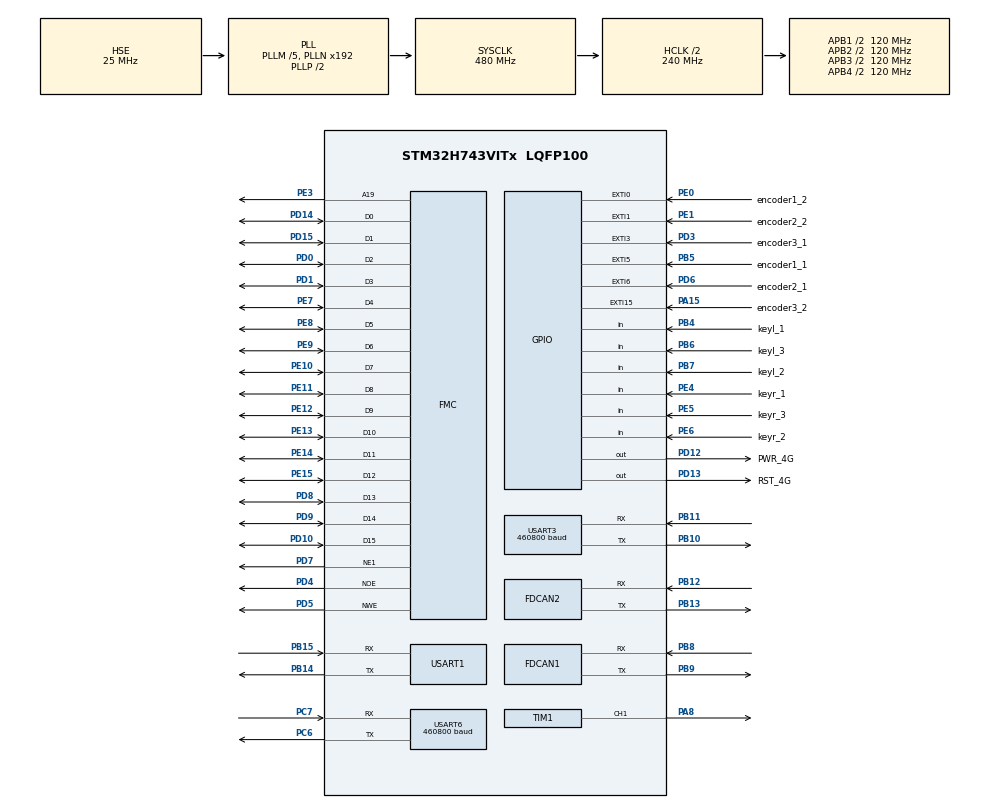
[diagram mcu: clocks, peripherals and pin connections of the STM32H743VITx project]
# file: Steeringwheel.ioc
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CORTEX_M7.AccessPermission_S-Cortex_Memory_Protection_Unit_Region1_Settings_S=MPU_REGION_FULL_ACCESS
CORTEX_M7.AccessPermission_Spec=MPU_REGION_FULL_ACCESS
CORTEX_M7.BaseAddress_S-Cortex_Memory_Protection_Unit_Region1_Settings_S=0x24000000
CORTEX_M7.BaseAddress_Spec=0x60000000
CORTEX_M7.CPU_DCache=Enabled
CORTEX_M7.CPU_ICache=Enabled
CORTEX_M7.DisableExec_Spec=MPU_INSTRUCTION_ACCESS_ENABLE
CORTEX_M7.Enable_S-Cortex_Memory_Protection_Unit_Region1_Settings_S=MPU_REGION_ENABLE
CORTEX_M7.Enable_Spec=MPU_REGION_ENABLE
CORTEX_M7.IsBufferable_Spec=MPU_ACCESS_BUFFERABLE
CORTEX_M7.IsCacheable_Spec=MPU_ACCESS_NOT_CACHEABLE
CORTEX_M7.IsShareable_Spec=MPU_ACCESS_NOT_SHAREABLE
CORTEX_M7.MPU_Control=MPU_PRIVILEGED_DEFAULT
CORTEX_M7.Size_S-Cortex_Memory_Protection_Unit_Region1_Settings_S=MPU_REGION_SIZE_512KB
CORTEX_M7.Size_Spec=MPU_REGION_SIZE_256MB
CORTEX_M7.SubRegionDisable_Spec=0x00
CORTEX_M7.TypeExtField_S-Cortex_Memory_Protection_Unit_Region1_Settings_S=MPU_TEX_LEVEL1
CORTEX_M7.TypeExtField_Spec=MPU_TEX_LEVEL0
CORTEX_M7.default_mode_Activation=1
Dma.Request0=TIM1_CH1
Dma.TIM1_CH1.0.Direction=DMA_MEMORY_TO_PERIPH
Dma.TIM1_CH1.0.EventEnable=DISABLE
Dma.TIM1_CH1.0.FIFOMode=DMA_FIFOMODE_DISABLE
Dma.TIM1_CH1.0.Instance=DMA1_Stream0
Dma.TIM1_CH1.0.MemDataAlignment=DMA_MDATAALIGN_HALFWORD
Dma.TIM1_CH1.0.MemInc=DMA_MINC_ENABLE
Dma.TIM1_CH1.0.Mode=DMA_NORMAL
Dma.TIM1_CH1.0.PeriphDataAlignment=DMA_PDATAALIGN_HALFWORD
Dma.TIM1_CH1.0.PeriphInc=DMA_PINC_DISABLE
Dma.TIM1_CH1.0.Polarity=HAL_DMAMUX_REQ_GEN_RISING
Dma.TIM1_CH1.0.Priority=DMA_PRIORITY_LOW
Dma.TIM1_CH1.0.RequestNumber=1
Dma.TIM1_CH1.0.SignalID=NONE
Dma.TIM1_CH1.0.SyncEnable=DISABLE
Dma.TIM1_CH1.0.SyncPolarity=HAL_DMAMUX_SYNC_NO_EVENT
Dma.TIM1_CH1.0.SyncRequestNumber=1
Dma.TIM1_CH1.0.SyncSignalID=NONE
FDCAN1.CalculateBaudRateNominal=250000
FDCAN1.CalculateTimeBitNominal=4000
FDCAN1.CalculateTimeQuantumNominal=800.0
FDCAN1.ExtFiltersNbr=1
FDCAN1.NominalPrescaler=20
FDCAN1.NominalTimeSeg1=2
FDCAN1.NominalTimeSeg2=2
FDCAN1.RxFifo0ElmtsNbr=32
FDCAN1.TxFifoQueueElmtsNbr=16
FDCAN2.CalculateBaudRateNominal=250000
FDCAN2.CalculateTimeBitNominal=4000
FDCAN2.CalculateTimeQuantumNominal=800.0
FDCAN2.ExtFiltersNbr=1
FDCAN2.MessageRAMOffset=0x214
FDCAN2.NominalPrescaler=20
FDCAN2.NominalTimeSeg1=2
FDCAN2.NominalTimeSeg2=2
FDCAN2.RxFifo0ElmtsNbr=32
FDCAN2.TxFifoQueueElmtsNbr=16
FMC.AddressSetupTime1=2
FMC.BusTurnAroundDuration1=1
FMC.DataSetupTime1=4
FMC.ExtendedAddressSetupTime1=2
FMC.ExtendedBusTurnAroundDuration1=1
FMC.ExtendedDataSetupTime1=4
FMC.ExtendedMode1=FMC_EXTENDED_MODE_ENABLE
FREERTOS.Events01=Upld_data_event,Dynamic,NULL
FREERTOS.Mutexes01=lvgl_mutex,Dynamic,NULL,Available
FREERTOS.Tasks01=lvgl_meter,8,512,entry_lvgl_meter,Default,NULL,Dynamic,NULL,NULL;lvgl,24,1024,entry_lvgl,Default,NULL,Dynamic,NULL,NULL;ws2812b,8,128,entry_ws2812b,Default,NULL,Dynamic,NULL,NULL;iot,8,128,entry_iot,Default,NULL,Dynamic,NULL,NULL;iot_upload,8,128,entry_iot_upload,Default,NULL,Dynamic,NULL,NULL
FREERTOS.configUSE_NEWLIB_REENTRANT=1
IWDG1.Prescaler=IWDG_PRESCALER_32
IWDG1.Reload=4095
Mcu.Family=STM32H7
Mcu.Name=STM32H743VITx
Mcu.Package=LQFP100
NVIC.DMA1_Stream0_IRQn=true\:5\:0\:false\:false\:true\:true\:false\:true\:true
NVIC.EXTI0_IRQn=true\:5\:0\:false\:false\:true\:true\:true\:true\:true
NVIC.EXTI15_10_IRQn=true\:5\:0\:false\:false\:true\:true\:true\:true\:true
NVIC.EXTI1_IRQn=true\:5\:0\:false\:false\:true\:true\:true\:true\:true
NVIC.EXTI3_IRQn=true\:5\:0\:false\:false\:true\:true\:true\:true\:true
NVIC.EXTI9_5_IRQn=true\:5\:0\:false\:false\:true\:true\:true\:true\:true
NVIC.FDCAN1_IT0_IRQn=true\:5\:0\:false\:false\:true\:true\:true\:true\:true
NVIC.FDCAN2_IT0_IRQn=true\:5\:0\:false\:false\:true\:true\:true\:true\:true
NVIC.PriorityGroup=NVIC_PRIORITYGROUP_4
NVIC.TIM2_IRQn=true\:15\:0\:false\:false\:true\:false\:false\:true\:true
NVIC.TimeBase=TIM2_IRQn
NVIC.TimeBaseIP=TIM2
PA13\ (JTMS/SWDIO).Mode=Serial_Wire
PA13\ (JTMS/SWDIO).Signal=DEBUG_JTMS-SWDIO
PA14\ (JTCK/SWCLK).Mode=Serial_Wire
PA14\ (JTCK/SWCLK).Signal=DEBUG_JTCK-SWCLK
PA15\ (JTDI).GPIO_Label=encoder3_2
PA15\ (JTDI).GPIO_ModeDefaultEXTI=GPIO_MODE_IT_FALLING
PA15\ (JTDI).GPIO_PuPd=GPIO_PULLUP
PA15\ (JTDI).Signal=GPXTI15
PA8.Signal=S_TIM1_CH1
PB10.Mode=Asynchronous
PB10.Signal=USART3_TX
PB11.Mode=Asynchronous
PB11.Signal=USART3_RX
PB12.Mode=FDCAN_Activate
PB12.Signal=FDCAN2_RX
PB13.Mode=FDCAN_Activate
PB13.Signal=FDCAN2_TX
PB14.Mode=Asynchronous
PB14.Signal=USART1_TX
PB15.Mode=Asynchronous
PB15.Signal=USART1_RX
PB4\ (NJTRST).GPIO_Label=keyl_1
PB4\ (NJTRST).GPIO_PuPd=GPIO_PULLUP
PB4\ (NJTRST).Signal=GPIO_Input
PB5.GPIO_Label=encoder1_1
PB5.GPIO_ModeDefaultEXTI=GPIO_MODE_IT_FALLING
PB5.GPIO_PuPd=GPIO_PULLUP
PB5.Signal=GPXTI5
PB6.GPIO_Label=keyl_3
PB6.GPIO_PuPd=GPIO_PULLUP
PB6.Signal=GPIO_Input
PB7.GPIO_Label=keyl_2
PB7.GPIO_PuPd=GPIO_PULLUP
PB7.Signal=GPIO_Input
PB8.Mode=FDCAN_Activate
PB8.Signal=FDCAN1_RX
PB9.Mode=FDCAN_Activate
PB9.Signal=FDCAN1_TX
PC14-OSC32_IN\ (OSC32_IN).Mode=LSE-External-Oscillator
PC14-OSC32_IN\ (OSC32_IN).Signal=RCC_OSC32_IN
PC15-OSC32_OUT\ (OSC32_OUT).Mode=LSE-External-Oscillator
PC15-OSC32_OUT\ (OSC32_OUT).Signal=RCC_OSC32_OUT
PC6.Mode=Asynchronous
PC6.Signal=USART6_TX
PC7.Mode=Asynchronous
PC7.Signal=USART6_RX
PD0.Signal=FMC_D2_DA2
PD1.Signal=FMC_D3_DA3
PD10.Signal=FMC_D15_DA15
PD12.GPIO_Label=PWR_4G
PD12.GPIO_Speed=GPIO_SPEED_FREQ_VERY_HIGH
PD12.PinState=GPIO_PIN_RESET
PD12.Signal=GPIO_Output
PD13.GPIO_Label=RST_4G
PD13.GPIO_Speed=GPIO_SPEED_FREQ_VERY_HIGH
PD13.Signal=GPIO_Output
PD14.Signal=FMC_D0_DA0
PD15.Signal=FMC_D1_DA1
PD3.GPIO_Label=encoder3_1
PD3.GPIO_ModeDefaultEXTI=GPIO_MODE_IT_FALLING
PD3.GPIO_PuPd=GPIO_PULLUP
PD3.Signal=GPXTI3
PD4.Signal=FMC_NOE
PD5.Signal=FMC_NWE
PD6.GPIO_Label=encoder2_1
PD6.GPIO_ModeDefaultEXTI=GPIO_MODE_IT_FALLING
PD6.GPIO_PuPd=GPIO_PULLUP
PD6.Signal=GPXTI6
PD7.Mode=NorPsramChipSelect1_1
PD7.Signal=FMC_NE1
PD8.Signal=FMC_D13_DA13
PD9.Signal=FMC_D14_DA14
PE0.GPIO_Label=encoder1_2
PE0.GPIO_ModeDefaultEXTI=GPIO_MODE_IT_FALLING
PE0.GPIO_PuPd=GPIO_PULLUP
PE0.Signal=GPXTI0
PE1.GPIO_Label=encoder2_2
PE1.GPIO_ModeDefaultEXTI=GPIO_MODE_IT_FALLING
PE1.GPIO_PuPd=GPIO_PULLUP
PE1.Signal=GPXTI1
PE10.Signal=FMC_D7_DA7
PE11.Signal=FMC_D8_DA8
PE12.Signal=FMC_D9_DA9
PE13.Signal=FMC_D10_DA10
PE14.Signal=FMC_D11_DA11
PE15.Signal=FMC_D12_DA12
PE3.Signal=FMC_A19
PE4.GPIO_Label=keyr_1
PE4.GPIO_PuPd=GPIO_PULLUP
PE4.Signal=GPIO_Input
PE5.GPIO_Label=keyr_3
PE5.GPIO_PuPd=GPIO_PULLUP
PE5.Signal=GPIO_Input
PE6.GPIO_Label=keyr_2
PE6.GPIO_PuPd=GPIO_PULLUP
PE6.Signal=GPIO_Input
PE7.Signal=FMC_D4_DA4
PE8.Signal=FMC_D5_DA5
PE9.Signal=FMC_D6_DA6
PH0-OSC_IN\ (PH0).Mode=HSE-External-Oscillator
PH0-OSC_IN\ (PH0).Signal=RCC_OSC_IN
PH1-OSC_OUT\ (PH1).Mode=HSE-External-Oscillator
PH1-OSC_OUT\ (PH1).Signal=RCC_OSC_OUT
ProjectManager.HeapSize=0x2000
ProjectManager.StackSize=0x800
ProjectManager.TargetToolchain=STM32CubeIDE
RCC.ADCFreq_Value=240000000
RCC.APB1Freq_Value=120000000
RCC.APB2Freq_Value=120000000
RCC.APB3Freq_Value=120000000
RCC.APB4Freq_Value=120000000
RCC.CortexFreq_Value=480000000
RCC.D1PPRE=RCC_APB3_DIV2
RCC.D2PPRE1=RCC_APB1_DIV2
RCC.D2PPRE2=RCC_APB2_DIV2
RCC.D3PPRE=RCC_APB4_DIV2
RCC.DIVM1=5
RCC.DIVM2=5
RCC.DIVM3=5
RCC.DIVN1=192
RCC.DIVN2=96
RCC.DIVN3=96
RCC.DIVQ1=6
RCC.DIVQ2=1
RCC.DIVQ3=1
RCC.DIVR1=6
RCC.FDCANCLockSelection=RCC_FDCANCLKSOURCE_HSE
RCC.HCLKFreq_Value=240000000
RCC.HPRE=RCC_HCLK_DIV2
RCC.PLLFRACN=0
RCC.PLLSourceVirtual=RCC_PLLSOURCE_HSE
RCC.SYSCLKFreq_VALUE=480000000
RCC.SYSCLKSource=RCC_SYSCLKSOURCE_PLLCLK
RCC.USBFreq_Value=160000000
SH.FMC_A19.0=FMC_A19,A19_1
SH.FMC_D0_DA0.0=FMC_D0,16b-d1
SH.FMC_D10_DA10.0=FMC_D10,16b-d1
SH.FMC_D11_DA11.0=FMC_D11,16b-d1
SH.FMC_D12_DA12.0=FMC_D12,16b-d1
SH.FMC_D13_DA13.0=FMC_D13,16b-d1
SH.FMC_D14_DA14.0=FMC_D14,16b-d1
SH.FMC_D15_DA15.0=FMC_D15,16b-d1
SH.FMC_D1_DA1.0=FMC_D1,16b-d1
SH.FMC_D2_DA2.0=FMC_D2,16b-d1
SH.FMC_D3_DA3.0=FMC_D3,16b-d1
SH.FMC_D4_DA4.0=FMC_D4,16b-d1
SH.FMC_D5_DA5.0=FMC_D5,16b-d1
SH.FMC_D6_DA6.0=FMC_D6,16b-d1
SH.FMC_D7_DA7.0=FMC_D7,16b-d1
SH.FMC_D8_DA8.0=FMC_D8,16b-d1
SH.FMC_D9_DA9.0=FMC_D9,16b-d1
SH.FMC_NOE.0=FMC_NOE,Lcd1
SH.FMC_NWE.0=FMC_NWE,Lcd1
SH.S_TIM1_CH1.0=TIM1_CH1,PWM Generation1 CH1
TIM1.Channel-PWM\ Generation1\ CH1=TIM_CHANNEL_1
TIM1.Period=299
TIM1.Prescaler=0
USART1.VirtualMode-Asynchronous=VM_ASYNC
USART3.BaudRate=460800
USART3.VirtualMode-Asynchronous=VM_ASYNC
USART6.BaudRate=460800
USART6.VirtualMode=VM_ASYNC
VP_FREERTOS_VS_CMSIS_V2.Mode=CMSIS_V2
VP_IWDG1_VS_IWDG.Mode=IWDG_Activate
VP_MEMORYMAP_VS_MEMORYMAP.Mode=CurAppReg
VP_SYS_VS_tim2.Mode=TIM2
VP_TIM1_VS_ClockSourceINT.Mode=Internal
board=custom

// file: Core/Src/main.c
/* USER CODE BEGIN Header */
/**
  ******************************************************************************
  * @file           : main.c
  * @brief          : Main program body
  ******************************************************************************
  * @attention
  *
  * Copyright (c) 2025 STMicroelectronics.
  * All rights reserved.
  *
  * This software is licensed under terms that can be found in the LICENSE file
  * in the root directory of this software component.
  * If no LICENSE file comes with this software, it is provided AS-IS.
  *
  ******************************************************************************
  */
/* USER CODE END Header */
#include "main.h"
#include "cmsis_os.h"
#include "dma.h"
#include "fdcan.h"
#include "iwdg.h"
#include "memorymap.h"
#include "tim.h"
#include "usart.h"
#include "gpio.h"
#include "fmc.h"

/* USER CODE BEGIN Includes */
#include "lvgl.h"
#include "lv_port_disp.h"
#include "ui.h"
/* USER CODE END Includes */

void SystemClock_Config(void);
static void MPU_Config(void);
void MX_FREERTOS_Init(void);

int main(void)
{

  /* MPU Configuration--------------------------------------------------------*/
  MPU_Config();

  /* Enable the CPU Cache */

  /* Enable I-Cache---------------------------------------------------------*/
  SCB_EnableICache();

  /* Enable D-Cache---------------------------------------------------------*/
  SCB_EnableDCache();

  /* MCU Configuration--------------------------------------------------------*/

  /* Reset of all peripherals, Initializes the Flash interface and the Systick. */
  HAL_Init();

  /* Configure the system clock */
  SystemClock_Config();

  /* Initialize all configured peripherals */
  MX_GPIO_Init();
  MX_DMA_Init();
  MX_TIM1_Init();
  MX_USART1_UART_Init();
  MX_USART3_UART_Init();
  MX_USART6_UART_Init();
  MX_FDCAN1_Init();
  MX_FDCAN2_Init();
  MX_FMC_Init();
  MX_IWDG1_Init();
  /* USER CODE BEGIN 2 */
  lv_init();
  lv_tick_set_cb(xTaskGetTickCount);
  lv_port_disp_init();
  ui_init();
  /* USER CODE END 2 */

  /* Init scheduler */
  osKernelInitialize();

  /* Call init function for freertos objects (in cmsis_os2.c) */
  MX_FREERTOS_Init();

  /* Start scheduler */
  osKernelStart();

  /* We should never get here as control is now taken by the scheduler */

  /* Infinite loop */
  while (1)
  {

    /* USER CODE BEGIN 3 */
//      HAL_Delay(500);
//      Tx_Flag = 1;
//    printf("\nec200 start\n");
  }
  /* USER CODE END 3 */
}

void SystemClock_Config(void)
{
  RCC_OscInitTypeDef RCC_OscInitStruct = {0};
  RCC_ClkInitTypeDef RCC_ClkInitStruct = {0};

  /** Supply configuration update enable
  */
  HAL_PWREx_ConfigSupply(PWR_LDO_SUPPLY);

  /** Configure the main internal regulator output voltage
  */
  __HAL_PWR_VOLTAGESCALING_CONFIG(PWR_REGULATOR_VOLTAGE_SCALE0);

  while(!__HAL_PWR_GET_FLAG(PWR_FLAG_VOSRDY)) {}

  /** Initializes the RCC Oscillators according to the specified parameters
  * in the RCC_OscInitTypeDef structure.
  */
  RCC_OscInitStruct.OscillatorType = RCC_OSCILLATORTYPE_LSI|RCC_OSCILLATORTYPE_HSE;
  RCC_OscInitStruct.HSEState = RCC_HSE_ON;
  RCC_OscInitStruct.LSIState = RCC_LSI_ON;
  RCC_OscInitStruct.PLL.PLLState = RCC_PLL_ON;
  RCC_OscInitStruct.PLL.PLLSource = RCC_PLLSOURCE_HSE;
  RCC_OscInitStruct.PLL.PLLM = 5;
  RCC_OscInitStruct.PLL.PLLN = 192;
  RCC_OscInitStruct.PLL.PLLP = 2;
  RCC_OscInitStruct.PLL.PLLQ = 6;
  RCC_OscInitStruct.PLL.PLLR = 6;
  RCC_OscInitStruct.PLL.PLLRGE = RCC_PLL1VCIRANGE_2;
  RCC_OscInitStruct.PLL.PLLVCOSEL = RCC_PLL1VCOWIDE;
  RCC_OscInitStruct.PLL.PLLFRACN = 0;
  if (HAL_RCC_OscConfig(&RCC_OscInitStruct) != HAL_OK)
  {
    Error_Handler();
  }

  /** Initializes the CPU, AHB and APB buses clocks
  */
  RCC_ClkInitStruct.ClockType = RCC_CLOCKTYPE_HCLK|RCC_CLOCKTYPE_SYSCLK
                              |RCC_CLOCKTYPE_PCLK1|RCC_CLOCKTYPE_PCLK2
                              |RCC_CLOCKTYPE_D3PCLK1|RCC_CLOCKTYPE_D1PCLK1;
  RCC_ClkInitStruct.SYSCLKSource = RCC_SYSCLKSOURCE_PLLCLK;
  RCC_ClkInitStruct.SYSCLKDivider = RCC_SYSCLK_DIV1;
  RCC_ClkInitStruct.AHBCLKDivider = RCC_HCLK_DIV2;
  RCC_ClkInitStruct.APB3CLKDivider = RCC_APB3_DIV2;
  RCC_ClkInitStruct.APB1CLKDivider = RCC_APB1_DIV2;
  RCC_ClkInitStruct.APB2CLKDivider = RCC_APB2_DIV2;
  RCC_ClkInitStruct.APB4CLKDivider = RCC_APB4_DIV2;

  if (HAL_RCC_ClockConfig(&RCC_ClkInitStruct, FLASH_LATENCY_4) != HAL_OK)
  {
    Error_Handler();
  }
}

 /* MPU Configuration */

void MPU_Config(void)
{
  MPU_Region_InitTypeDef MPU_InitStruct = {0};

  /* Disables the MPU */
  HAL_MPU_Disable();

  /** Initializes and configures the Region and the memory to be protected
  */
  MPU_InitStruct.Enable = MPU_REGION_ENABLE;
  MPU_InitStruct.Number = MPU_REGION_NUMBER0;
  MPU_InitStruct.BaseAddress = 0x60000000;
  MPU_InitStruct.Size = MPU_REGION_SIZE_256MB;
  MPU_InitStruct.SubRegionDisable = 0x00;
  MPU_InitStruct.TypeExtField = MPU_TEX_LEVEL0;
  MPU_InitStruct.AccessPermission = MPU_REGION_FULL_ACCESS;
  MPU_InitStruct.DisableExec = MPU_INSTRUCTION_ACCESS_ENABLE;
  MPU_InitStruct.IsShareable = MPU_ACCESS_NOT_SHAREABLE;
  MPU_InitStruct.IsCacheable = MPU_ACCESS_NOT_CACHEABLE;
  MPU_InitStruct.IsBufferable = MPU_ACCESS_BUFFERABLE;

  HAL_MPU_ConfigRegion(&MPU_InitStruct);

  /** Initializes and configures the Region and the memory to be protected
  */
  MPU_InitStruct.Number = MPU_REGION_NUMBER1;
  MPU_InitStruct.BaseAddress = 0x24000000;
  MPU_InitStruct.Size = MPU_REGION_SIZE_512KB;
  MPU_InitStruct.SubRegionDisable = 0x0;
  MPU_InitStruct.TypeExtField = MPU_TEX_LEVEL1;
  MPU_InitStruct.IsBufferable = MPU_ACCESS_NOT_BUFFERABLE;

  HAL_MPU_ConfigRegion(&MPU_InitStruct);
  /* Enables the MPU */
  HAL_MPU_Enable(MPU_PRIVILEGED_DEFAULT);

}

void HAL_TIM_PeriodElapsedCallback(TIM_HandleTypeDef *htim)
{
  if (htim->Instance == TIM2)
  {
    HAL_IncTick();
  }
}

void Error_Handler(void)
{
  __disable_irq();
  while (1)
  {
  }
}

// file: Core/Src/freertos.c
/* USER CODE BEGIN Header */
/**
  ******************************************************************************
  * File Name          : freertos.c
  * Description        : Code for freertos applications
  ******************************************************************************
  * @attention
  *
  * Copyright (c) 2025 STMicroelectronics.
  * All rights reserved.
  *
  * This software is licensed under terms that can be found in the LICENSE file
  * in the root directory of this software component.
  * If no LICENSE file comes with this software, it is provided AS-IS.
  *
  ******************************************************************************
  */
/* USER CODE END Header */

#include "FreeRTOS.h"
#include "task.h"
#include "main.h"
#include "cmsis_os.h"

/* USER CODE BEGIN Includes */
#include "lvgl.h"
#include "screens.h"
#include "SLM_App.h"
#include "app_can.h"
#include "app_indev.h"
#include "iwdg.h"
#include "string.h"
#include "app_EC200.h"
/* USER CODE END Includes */

/* Definitions for lvgl_meter */
osThreadId_t lvgl_meterHandle;
const osThreadAttr_t lvgl_meter_attributes = {
  .name = "lvgl_meter",
  .stack_size = 512 * 4,
  .priority = (osPriority_t) osPriorityLow,
};
/* Definitions for lvgl */
osThreadId_t lvglHandle;
const osThreadAttr_t lvgl_attributes = {
  .name = "lvgl",
  .stack_size = 1024 * 4,
  .priority = (osPriority_t) osPriorityNormal,
};
/* Definitions for ws2812b */
osThreadId_t ws2812bHandle;
const osThreadAttr_t ws2812b_attributes = {
  .name = "ws2812b",
  .stack_size = 128 * 4,
  .priority = (osPriority_t) osPriorityLow,
};
/* Definitions for iot */
osThreadId_t iotHandle;
const osThreadAttr_t iot_attributes = {
  .name = "iot",
  .stack_size = 128 * 4,
  .priority = (osPriority_t) osPriorityLow,
};
/* Definitions for iot_upload */
osThreadId_t iot_uploadHandle;
const osThreadAttr_t iot_upload_attributes = {
  .name = "iot_upload",
  .stack_size = 128 * 4,
  .priority = (osPriority_t) osPriorityLow,
};
/* Definitions for lvgl_mutex */
osMutexId_t lvgl_mutexHandle;
const osMutexAttr_t lvgl_mutex_attributes = {
  .name = "lvgl_mutex"
};
/* Definitions for Upld_data_event */
osEventFlagsId_t Upld_data_eventHandle;
const osEventFlagsAttr_t Upld_data_event_attributes = {
  .name = "Upld_data_event"
};

void entry_lvgl_meter(void *argument);
void entry_lvgl(void *argument);
void entry_ws2812b(void *argument);
void entry_iot(void *argument);
void entry_iot_upload(void *argument);

void MX_FREERTOS_Init(void); /* (MISRA C 2004 rule 8.1) */

void MX_FREERTOS_Init(void) {
  /* Create the mutex(es) */
  /* creation of lvgl_mutex */
  lvgl_mutexHandle = osMutexNew(&lvgl_mutex_attributes);

  /* Create the thread(s) */
  /* creation of lvgl_meter */
  lvgl_meterHandle = osThreadNew(entry_lvgl_meter, NULL, &lvgl_meter_attributes);

  /* creation of lvgl */
  lvglHandle = osThreadNew(entry_lvgl, NULL, &lvgl_attributes);

  /* creation of ws2812b */
  ws2812bHandle = osThreadNew(entry_ws2812b, NULL, &ws2812b_attributes);

  /* creation of iot */
  iotHandle = osThreadNew(entry_iot, NULL, &iot_attributes);

  /* creation of iot_upload */
  //iot_uploadHandle = osThreadNew(entry_iot_upload, NULL, &iot_upload_attributes);

  /* creation of Upld_data_event */
  Upld_data_eventHandle = osEventFlagsNew(&Upld_data_event_attributes);

}

void entry_lvgl_meter(void *argument)
{
  /* USER CODE BEGIN entry_lvgl_meter */
//  uint32_t r_event;
  static uint8_t saf_cir_ofl_blink = 0;
  racingCarData.BatVoltage = 480.4;
  /* Infinite loop */
  for(;;)
  {
//      r_event = osEventFlagsWait(Upld_data_eventHandle,GUI_UPDATE_EVENT,osFlagsWaitAll,osWaitForever);
//      if(r_event) {
          Key_Num_Click = key_scan_click();
          Key_Num_Press = key_scan_press();

          if(racingCarData.RMCU==0)
              safety_circuit_offline = 1;
          else
              safety_circuit_offline = 0;

          if(racingCarData.BSPD_Safe == 0)
              lv_label_set_text(objects.history_log_fail,"BSPD_Safe");
          else if(racingCarData.IMD_Safe == 0)
              lv_label_set_text(objects.history_log_fail,"IMD_Safe");
          else if(racingCarData.BMS_Safe == 0)
              lv_label_set_text(objects.history_log_fail,"BMS_Safe");
          else if(racingCarData.Emer_Stop == 0)
              lv_label_set_text(objects.history_log_fail,"Emer_Stop");
          else if(racingCarData.Inertia_Swich == 0)
              lv_label_set_text(objects.history_log_fail,"Inertia_Swich");
          else if(racingCarData.Brake_Overtr_Switch == 0)
              lv_label_set_text(objects.history_log_fail,"Brake_Overtr_Switch");
          else if(racingCarData.HVD == 0)
              lv_label_set_text(objects.history_log_fail,"HVD");
          else if(racingCarData.LMCU == 0)
              lv_label_set_text(objects.history_log_fail,"LMCU");
          else if(racingCarData.RMCU == 0)
              lv_label_set_text(objects.history_log_fail,"RMCU");

          //安全回路检测
          if(safety_circuit_offline == 1) {
              if (saf_cir_ofl_blink<=10) {
                  lv_obj_clear_flag(objects.saf_cir_ofl_label, LV_OBJ_FLAG_HIDDEN);
                  saf_cir_ofl_blink++;
              }
              else if(saf_cir_ofl_blink<=15 && saf_cir_ofl_blink >10) {
                  lv_obj_add_flag(objects.saf_cir_ofl_label, LV_OBJ_FLAG_HIDDEN);
                  saf_cir_ofl_blink++;
              }
              else
                  saf_cir_ofl_blink = 0;
          }
          else
              lv_obj_add_flag(objects.saf_cir_ofl_label,LV_OBJ_FLAG_HIDDEN);

          //重要消息显示
          lv_obj_add_flag(objects.history_log_fail,LV_OBJ_FLAG_HIDDEN);
          if(racingCarData.l_mcu_ready == 0 || Key_Num_Press == 4) {
              history_log_appear_flag = 1;
              lv_label_set_text_fmt(objects.history_log_lready,"%1d",racingCarData.l_mcu_ready);
              lv_label_set_text_fmt(objects.history_log_lprecharge,"%1d", racingCarData.l_mcu_precharge_state);
              lv_label_set_text_fmt(objects.history_log_lwrong_code,"%3d",racingCarData.l_mcu_wrong_code);
          }
          if(racingCarData.r_mcu_ready == 0 || Key_Num_Press == 4) {
              history_log_appear_flag = 1;
              lv_label_set_text_fmt(objects.history_log_rready,"%1d",racingCarData.r_mcu_ready);
              lv_label_set_text_fmt(objects.history_log_rprecharge,"%1d", racingCarData.r_mcu_precharge_state);
              lv_label_set_text_fmt(objects.history_log_rwrong_code,"%3d",racingCarData.r_mcu_wrong_code);
          }
          if(racingCarData.l_mcu_selftest_state == 0 || Key_Num_Press == 4) {
              history_log_appear_flag = 1;
              lv_label_set_text_fmt(objects.history_log_rselftest,"%1d",racingCarData.r_mcu_selftest_state);

          }
          if(racingCarData.l_mcu_alert != 0 || Key_Num_Press == 4) {
              history_log_appear_flag = 1;
              lv_label_set_text_fmt(objects.history_log_ralert,"%1d",racingCarData.r_mcu_alert);
          }
          if(racingCarData.r_mcu_selftest_state == 0 || Key_Num_Press == 4) {
              history_log_appear_flag = 1;
              lv_label_set_text_fmt(objects.history_log_rselftest,"%1d",racingCarData.r_mcu_selftest_state);
          }
          if(racingCarData.r_mcu_alert != 0 || Key_Num_Press == 4) {
              history_log_appear_flag = 1;
              lv_label_set_text_fmt(objects.history_log_ralert,"%1d",racingCarData.r_mcu_alert);
          }

          lv_label_set_text_fmt(objects.history_log_batstate,"%1d",racingCarData.BatState);

          if(racingCarData.BatAlmLv != 0 || Key_Num_Press == 4) {
              history_log_appear_flag = 1;
              lv_label_set_text_fmt(objects.history_log_batalmlv,"%1d",racingCarData.BatAlmLv);
          }

          if(racingCarData.l_mcu_ready == 1 && racingCarData.r_mcu_ready == 1 && racingCarData.l_mcu_selftest_state == 1 && racingCarData.r_mcu_selftest_state == 1 && racingCarData.l_mcu_alert == 0 && racingCarData.r_mcu_alert == 0 && racingCarData.BatAlmLv == 0) {
              history_log_appear_flag = 0;
          }

          lv_label_set_text_fmt(objects.history_log_rpm_difference,"%4d",racingCarData.l_motor_rpm-racingCarData.r_motor_rpm);

          if(history_log_appear_flag == 1) lv_obj_clear_flag(objects.history_log_panel,LV_OBJ_FLAG_HIDDEN);
          else lv_obj_add_flag(objects.history_log_panel,LV_OBJ_FLAG_HIDDEN);

          if(Key_Num_Press == 4) lv_obj_clear_flag(objects.history_log_panel,LV_OBJ_FLAG_HIDDEN);
          else lv_obj_add_flag(objects.history_log_panel,LV_OBJ_FLAG_HIDDEN);

          lv_label_set_text_fmt(objects.speed,"%02d",racingCarData.FrontSpeed);
          lv_label_set_text_fmt(objects.lmot_rpm,"%02d",racingCarData.l_motor_rpm);
          lv_label_set_text_fmt(objects.rmot_rpm,"%02d",racingCarData.r_motor_rpm);
          lv_label_set_text_fmt(objects.mcu1_temp,"%02d",racingCarData.l_mcu_temp);
          lv_label_set_text_fmt(objects.mcu2_temp,"%02d",racingCarData.r_mcu_temp);
          lv_label_set_text_fmt(objects.motor2_temp,"%02d",racingCarData.l_motor_temp);
          lv_label_set_text_fmt(objects.motor1_temp,"%02d",racingCarData.r_motor_temp);
          lv_label_set_text_fmt(objects.mincellvolt,"%04d",racingCarData.MinCellVolt);

          //测试系统bootloader IAP
          lv_label_set_text_fmt(objects.lap,"%d",key_scan_press());

          lv_label_set_text_fmt(objects.bat_volt,"%03d",racingCarData.BatVoltage);

          lv_bar_set_value(objects.soc,racingCarData.BatSoc,LV_ANIM_OFF);

          if(racingCarData.gearMode == 0){
              lv_label_set_text(objects.gear, "N");
          }
          else if(racingCarData.gearMode == 1){
              lv_label_set_text(objects.gear, "AC");
          }
          else if(racingCarData.gearMode == 2){
              lv_label_set_text(objects.gear, "SK");
          }
          else if(racingCarData.gearMode == 3){
              lv_label_set_text(objects.gear,"AU");
          }
          else if(racingCarData.gearMode == 4){
              lv_label_set_text(objects.gear,"EF");
          }
      //CAN1_Send(0x210,data);
//      }
//      osMutexRelease(lvgl_mutexHandle);
      osDelay(50);
  }
  /* USER CODE END entry_lvgl_meter */
}

void entry_lvgl(void *argument)
{
  /* USER CODE BEGIN entry_lvgl */
  static uint8_t boot_steady = 0;
  /* Infinite loop */
  for(;;)
  {
      osMutexWait(lvgl_mutexHandle, osWaitForever);
      uint32_t time_till_next = lv_timer_handler();
      if(time_till_next == LV_NO_TIMER_READY) time_till_next = LV_DEF_REFR_PERIOD; /*try again soon because the other thread can make the timer ready*/
      HAL_IWDG_Refresh(&hiwdg1);

      if(key_scan_press() == 3){   //可以添加延时进入
          boot_steady++;
          lv_obj_clear_flag(objects.boot_steady,LV_OBJ_FLAG_HIDDEN);
          if(boot_steady == 17) {
              uint32_t i = 0;
              void (*SysMemBootJump)(void);        /* 声明一个函数指针 */
              __IO uint32_t BootAddr = 0x1FF09800; /* STM32H7的系统BootLoader地址 */

              /* 关闭全局中断 */
              __disable_irq(); // 关闭全局中断

              /* 关闭滴答定时器，复位到默认值 */
              SysTick->CTRL = 0;
              SysTick->LOAD = 0;
              SysTick->VAL = 0;

              /* 设置所有时钟到默认状态，使用HSI时钟 */
              HAL_RCC_DeInit();

              /* 关闭所有中断，清除所有中断挂起标志 */
              for (i = 0; i < 8; i++) {
                  NVIC->ICER[i] = 0xFFFFFFFF;
                  NVIC->ICPR[i] = 0xFFFFFFFF;
              }

              /* 使能全局中断 */
              __enable_irq(); // 开启全局中断
//              HAL_FLASH_Program();

              /* 跳转到系统BootLoader，首地址是MSP，地址+4是复位中断服务程序地址 */
              SysMemBootJump = (void (*)(void)) (*((uint32_t *) (BootAddr + 4)));

              /* 设置主堆栈指针 */
              __set_MSP(*(uint32_t *) BootAddr);

              /* 在RTOS工程，这条语句很重要，设置为特权级模式，使用MSP指针 */
              __set_CONTROL(0);

              /* 跳转到系统BootLoader */
              SysMemBootJump();

              /* 跳转成功的话，不会执行到这里，用户可以在这里添加代码 */
              while (1) {

              }
          }
      }
      else{
          lv_obj_add_flag(objects.boot_steady,LV_OBJ_FLAG_HIDDEN);
          boot_steady = 0;
      }

      osMutexRelease(lvgl_mutexHandle);
      osDelay(time_till_next); /* delay to avoid unnecessary polling */
  }
  /* USER CODE END entry_lvgl */
}

void entry_ws2812b(void *argument)
{
  /* USER CODE BEGIN entry_ws2812b */
    CanFilter_init();
    uint32_t r_event;
  /* Infinite loop */
  for(;;)
  {
      r_event = osEventFlagsWait(Upld_data_eventHandle,GUI_UPDATE_EVENT,osFlagsWaitAll,osWaitForever);
      if(r_event) {
          RPM_LED_Shine();
      }
      osDelay(50);
  }
  /* USER CODE END entry_ws2812b */
}

void entry_iot(void *argument)
{
  /* USER CODE BEGIN entry_iot */
  /* Infinite loop */
  for(;;)
  {
      // event_bit = osEventFlagsWait(Upld_data_eventHandle,  //�ȴ��������ݣ��ղ����Ͳ�������һ����
      //							GUI_UPDATE_EVENT,
      //							osFlagsWaitAll,
      //							osWaitForever);
      MQTTClient_RdyFlag = EC200_MQTTInit();

      if(MQTTClient_RdyFlag)
          iot_uploadHandle = osThreadNew(entry_iot_upload, NULL, &iot_upload_attributes);
      //lv_event_send(ui_Iot,MQTT_INIT_OK,NULL);
      osDelay(500);
      if(PUBOK_Flag == 1){
          osThreadSuspend(iotHandle);
      }
  }
  /* USER CODE END entry_iot */
}

void entry_iot_upload(void *argument)
{
  /* USER CODE BEGIN entry_iot_upload */
    uint32_t event_bit;
  /* Infinite loop */
  for(;;)
  {
      event_bit = osEventFlagsWait(Upld_data_eventHandle,
                                   GUI_UPDATE_EVENT,
                                   osFlagsWaitAll,
                                   osWaitForever);
      if(event_bit){
          if(eTaskGetState(iotHandle) == eSuspended){
              if(PUBOK_Flag == 1 )
              {
                  //	  	 if(uploadFlag)     //�ϳ���ǵý⿪
                  //		  {
                  Tx_Flag = 1;
                  printf("\nuploadcardata\n");
                  jsonPack();
                  //		  }
                  //		  uploadFlag = 0;
              }
              else
                  osThreadResume(iotHandle);
          }
      }
    osDelay(50);
  }
  /* USER CODE END entry_iot_upload */
}
